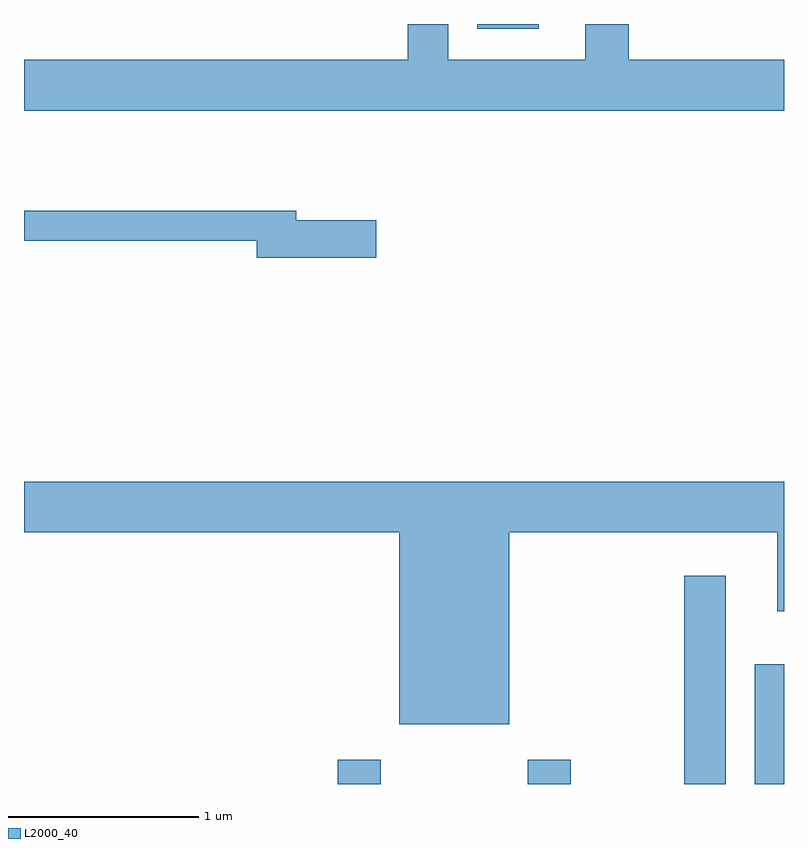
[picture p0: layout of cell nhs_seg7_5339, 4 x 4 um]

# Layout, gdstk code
import gdstk
lib = gdstk.Library(unit=1e-6, precision=1e-09)
def R(c, l, rs):  # rectangles x0, y0, x1, y1
    for r in rs: c.add(gdstk.rectangle(r[:2], r[2:], *l))
def P(c, l, *ps):  # polygons
    for p in ps: c.add(gdstk.Polygon(p, *l))
L2000_40 = (2000, 40)

nhs_seg7_5339 = lib.new_cell('nhs_seg7_5339')
R(nhs_seg7_5339, L2000_40, [(349.261,1786.252,349.489,1786.379), (350.261,1786.252,350.489,1786.379), (351.086,1786.252,351.304,1787.349), (351.456,1786.252,351.611,1786.883), (349.996,1790.226,350.319,1790.252)])
P(nhs_seg7_5339, L2000_40, [(351.611,1790.064),(350.794,1790.064),(350.794,1790.252),(350.566,1790.252),(350.566,1790.064),(349.844,1790.064),(349.844,1790.252),(349.631,1790.252),(349.631,1790.064),(347.611,1790.064),(347.611,1789.796),(351.611,1789.796)],
  [(349.464,1789.219),(349.044,1789.219),(349.044,1789.269),(347.611,1789.269),(347.611,1789.111),(348.836,1789.111),(348.836,1789.021),(349.464,1789.021)],
  [(350.164,1787.576),(351.576,1787.576),(351.576,1787.161),(351.611,1787.161),(351.611,1787.844),(347.611,1787.844),(347.611,1787.576),(349.586,1787.576),(349.586,1786.566),(350.164,1786.566)])

lib.write_gds('nhs_seg7_5339.gds')
